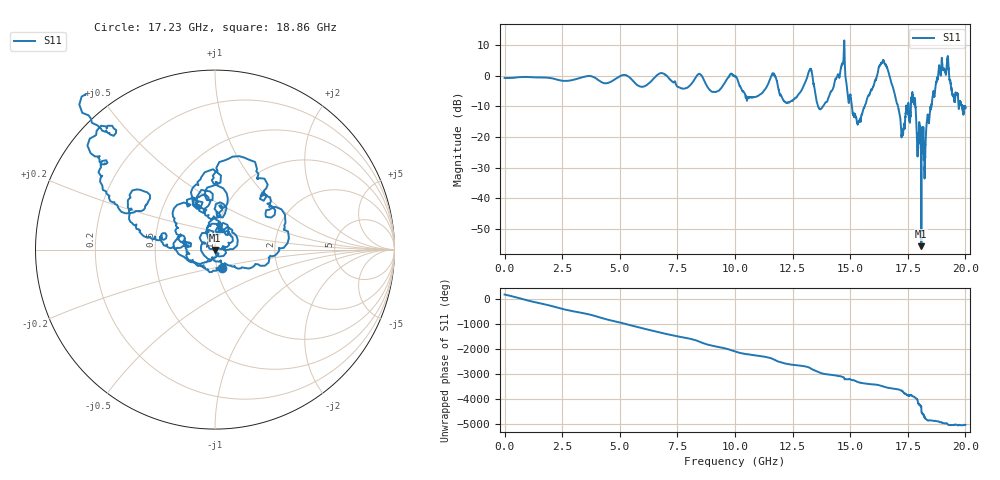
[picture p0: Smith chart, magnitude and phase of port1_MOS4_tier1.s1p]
! Created with skrf 1.8.0 (http://scikit-rf.org).
# GHz S RI R 50.0
!freq ReS11 ImS11
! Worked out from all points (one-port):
!   10001 points, 1 MHz to 20 GHz, reference 50 ohm
!   lowest |S11| = -55.6 dB at 18.09 GHz (marker M1), VSWR 1.00, Z = 49.9 - j0.144 ohm
!   |S11| at or under -10 dB: 15.08 GHz to 15.63 GHz (554.1 MHz wide, 3.61 % of centre); 17.08 GHz to 17.43 GHz (352.6 MHz wide, 2.04 % of centre); 17.83 GHz to 18.53 GHz (697.8 MHz wide, 3.84 % of centre) (the widest 3 of 15)
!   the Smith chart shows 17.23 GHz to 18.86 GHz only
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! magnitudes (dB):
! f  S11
! 1 MHz  -0.7
! 2.501 GHz  -1.6
! 5.001 GHz  -0.2
! 6.837 GHz  0.8
! 7.501 GHz  -3.6
! 8.461 GHz  0.6
! 9.155 GHz  -5.3
! 10 GHz  -0.2
! 10.6 GHz  -6.9
! 11.67 GHz  0.5
! 12.13 GHz  -8.3
! 12.5 GHz  -8.2
! 13.26 GHz  2.3
! 13.76 GHz  -10.7
! 14.68 GHz  3.9
! 15 GHz  -6.1
! 15.39 GHz  -15.1
! 16.43 GHz  5.0
! 17.27 GHz  -18.6
! 17.5 GHz  -11.9
! 17.74 GHz  -8.2
! 17.99 GHz  -17.5
! 18.09 GHz  -55.6
! 18.18 GHz  -16.9
! 18.93 GHz  0.0
! 19.2 GHz  4.4
! 19.47 GHz  -6.6
! 20 GHz  -10.7
